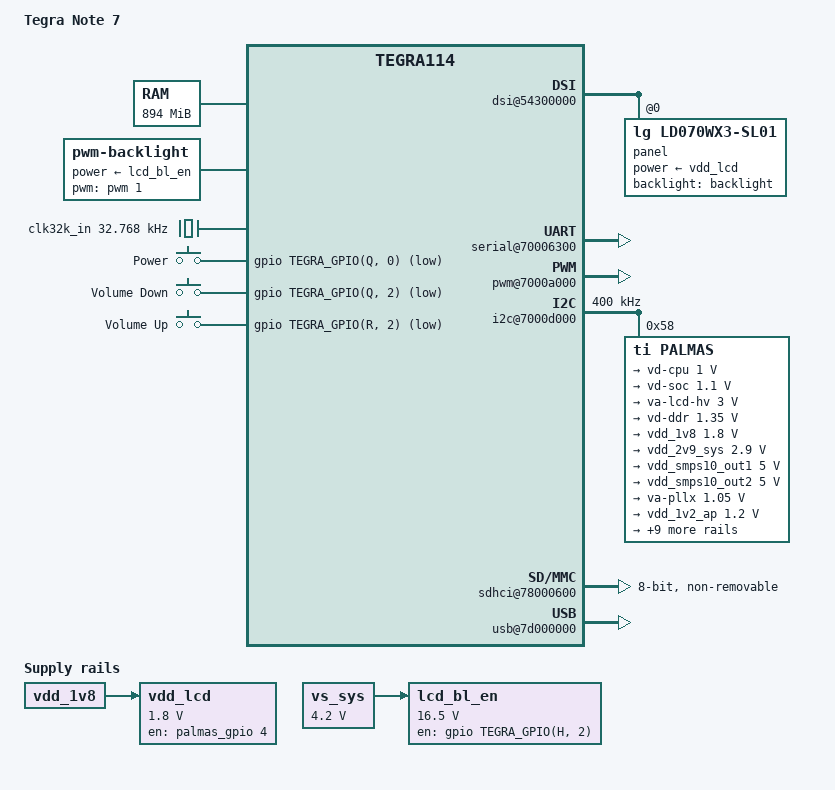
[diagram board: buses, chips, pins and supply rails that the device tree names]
/dts-v1/;

#include <dt-bindings/input/input.h>
#include "tegra114.dtsi"

/ {
	model = "Tegra Note 7";
	compatible = "nvidia,tn7", "nvidia,tegra114";

	chosen {
		/* TN7's bootloader's arguments need to be overridden */
		bootargs = "console=ttyS0,115200n8 console=tty1 gpt fbcon=rotate:2";
		/* TN7's bootloader will place initrd at this address */
		linux,initrd-start = <0x82000000>;
		linux,initrd-end = <0x82800000>;
	};

	aliases {
		serial0 = &uartd;
	};

	firmware {
		trusted-foundations {
			compatible = "tlm,trusted-foundations";
			tlm,version-major = <2>;
			tlm,version-minor = <8>;
		};
	};

	memory {
		/* memory >= 0x37e00000 is reserved for firmware usage */
		reg = <0x80000000 0x37e00000>;
	};

	host1x@50000000 {
		dsi@54300000 {
			status = "okay";

			vdd-supply = <&vdd_1v2_ap>;

			panel@0 {
				compatible = "lg,ld070wx3-sl01";
				reg = <0>;

				power-supply = <&vdd_lcd>;
				backlight = <&backlight>;
			};
		};
	};

	serial@70006300 {
		status = "okay";
	};

	pwm@7000a000 {
		status = "okay";
	};

	i2c@7000d000 {
		status = "okay";
		clock-frequency = <400000>;

		palmas: pmic@58 {
			compatible = "ti,palmas";
			reg = <0x58>;
			interrupts = <GIC_SPI 86 IRQ_TYPE_LEVEL_HIGH>;

			#interrupt-cells = <2>;
			interrupt-controller;

			ti,system-power-controller;

			palmas_gpio: gpio {
				compatible = "ti,palmas-gpio";
				gpio-controller;
				#gpio-cells = <2>;
			};

			pmic {
				compatible = "ti,tps65913-pmic", "ti,palmas-pmic";

				ldoln-in-supply = <&vdd_smps10_out2>;

				regulators {
					smps123 {
						regulator-name = "vd-cpu";
						regulator-min-microvolt = <1000000>;
						regulator-max-microvolt = <1000000>;
						regulator-always-on;
						regulator-boot-on;
					};

					smps45 {
						regulator-name = "vd-soc";
						regulator-min-microvolt = <1100000>;
						regulator-max-microvolt = <1100000>;
						regulator-always-on;
						regulator-boot-on;
					};

					smps6 {
						regulator-name = "va-lcd-hv";
						regulator-min-microvolt = <3000000>;
						regulator-max-microvolt = <3000000>;
						regulator-always-on;
						regulator-boot-on;
					};

					smps7 {
						regulator-name = "vd-ddr";
						regulator-min-microvolt = <1350000>;
						regulator-max-microvolt = <1350000>;
						regulator-always-on;
						regulator-boot-on;
					};

					vdd_1v8: smps8 {
						regulator-name = "vs-pmu-1v8";
						regulator-min-microvolt = <1800000>;
						regulator-max-microvolt = <1800000>;
						regulator-always-on;
						regulator-boot-on;
					};

					vdd_2v9_sys: smps9 {
						regulator-name = "vs-sys-2v9";
						regulator-min-microvolt = <2900000>;
						regulator-max-microvolt = <2900000>;
						regulator-always-on;
						regulator-boot-on;
					};

					vdd_smps10_out1: smps10_out1 {
						regulator-name = "vd-smps10-out1";
						regulator-min-microvolt = <5000000>;
						regulator-max-microvolt = <5000000>;
						regulator-always-on;
						regulator-boot-on;
					};

					vdd_smps10_out2: smps10_out2 {
						regulator-name = "vd-smps10-out2";
						regulator-min-microvolt = <5000000>;
						regulator-max-microvolt = <5000000>;
						regulator-always-on;
						regulator-boot-on;
					};

					ldo1 {
						regulator-name = "va-pllx";
						regulator-min-microvolt = <1050000>;
						regulator-max-microvolt = <1050000>;
						regulator-always-on;
						regulator-boot-on;
					};

					vdd_1v2_ap: ldo2 {
						regulator-name = "va-ap-1v2";
						regulator-min-microvolt = <1200000>;
						regulator-max-microvolt = <1200000>;
						regulator-always-on;
						regulator-boot-on;
					};

					ldo3 {
						regulator-name = "vd-fuse";
						regulator-min-microvolt = <1800000>;
						regulator-max-microvolt = <1800000>;
						regulator-always-on;
						regulator-boot-on;
					};

					ldo4 {
						regulator-name = "vd-ts-hv";
						regulator-min-microvolt = <3200000>;
						regulator-max-microvolt = <3200000>;
						regulator-always-on;
						regulator-boot-on;
					};

					ldo5 {
						regulator-name = "va-cam2-hv";
						regulator-min-microvolt = <2700000>;
						regulator-max-microvolt = <2700000>;
					};

					ldo6 {
						regulator-name = "va-sns-hv";
						regulator-min-microvolt = <2850000>;
						regulator-max-microvolt = <2850000>;
					};

					ldo7 {
						regulator-name = "va-cam1-hv";
						regulator-min-microvolt = <2700000>;
						regulator-max-microvolt = <2700000>;
					};

					ldo8 {
						regulator-name = "va-ap-rtc";
						regulator-min-microvolt = <1100000>;
						regulator-max-microvolt = <1100000>;
						ti,enable-ldo8-tracking;
						regulator-always-on;
						regulator-boot-on;
					};

					ldo9 {
						regulator-name = "vi-sdcard";
						regulator-min-microvolt = <2900000>;
						regulator-max-microvolt = <2900000>;
					};

					ldousb {
						regulator-name = "avdd-usb";
						regulator-min-microvolt = <3300000>;
						regulator-max-microvolt = <3300000>;
						regulator-always-on;
						regulator-boot-on;
					};

					ldoln {
						regulator-name = "va-hdmi";
						regulator-min-microvolt = <3300000>;
						regulator-max-microvolt = <3300000>;
					};
				};
			};

			rtc {
				compatible = "ti,palmas-rtc";
				interrupt-parent = <&palmas>;
				interrupts = <8 0>;
			};

		};
	};

	pmc@7000e400 {
		nvidia,invert-interrupt;
	};

	/* eMMC */
	sdhci@78000600 {
		status = "okay";
		bus-width = <8>;
		non-removable;
	};

	usb@7d000000 {
		status = "okay";
	};

	usb-phy@7d000000 {
		status = "okay";
		nvidia,xcvr-setup = <7>;
		nvidia,xcvr-lsfslew = <2>;
		nvidia,xcvr-lsrslew = <2>;
		interrupts = <GIC_SPI 20 IRQ_TYPE_LEVEL_HIGH>;
		/* Should be changed to "otg" once we have vbus_supply */
		/* As of now, USB devices need to be powered externally */
		dr_mode = "host";
	};

	backlight: backlight {
		compatible = "pwm-backlight";
		pwms = <&pwm 1 40000>;

		brightness-levels = <0 4 8 16 32 64 128 255>;
		default-brightness-level = <6>;

		power-supply = <&lcd_bl_en>;
	};

	clocks {
		compatible = "simple-bus";
		#address-cells = <1>;
		#size-cells = <0>;

		clk32k_in: clock@0 {
			compatible = "fixed-clock";
			reg = <0>;
			#clock-cells = <0>;
			clock-frequency = <32768>;
		};
	};

	gpio-keys {
		compatible = "gpio-keys";

		power {
			label = "Power";
			gpios = <&gpio TEGRA_GPIO(Q, 0) GPIO_ACTIVE_LOW>;
			linux,code = <KEY_POWER>;
			wakeup-source;
		};

		volume_down {
			label = "Volume Down";
			gpios = <&gpio TEGRA_GPIO(Q, 2) GPIO_ACTIVE_LOW>;
			linux,code = <KEY_VOLUMEDOWN>;
		};

		volume_up {
			label = "Volume Up";
			gpios = <&gpio TEGRA_GPIO(R, 2) GPIO_ACTIVE_LOW>;
			linux,code = <KEY_VOLUMEUP>;
		};
	};

	regulators {
		compatible = "simple-bus";
		#address-cells = <1>;
		#size-cells = <0>;

		/* FIXME: output of BQ24192 */
		vs_sys: regulator@0 {
			compatible = "regulator-fixed";
			reg = <0>;
			regulator-name = "VS_SYS";
			regulator-min-microvolt = <4200000>;
			regulator-max-microvolt = <4200000>;
			regulator-always-on;
			regulator-boot-on;
		};

		lcd_bl_en: regulator@1 {
			compatible = "regulator-fixed";
			reg = <1>;
			regulator-name = "VDD_LCD_BL";
			regulator-min-microvolt = <16500000>;
			regulator-max-microvolt = <16500000>;
			gpio = <&gpio TEGRA_GPIO(H, 2) GPIO_ACTIVE_HIGH>;
			enable-active-high;
			vin-supply = <&vs_sys>;
			regulator-boot-on;
		};

		vdd_lcd: regulator@2 {
			compatible = "regulator-fixed";
			reg = <2>;
			regulator-name = "VD_LCD_1V8";
			regulator-min-microvolt = <1800000>;
			regulator-max-microvolt = <1800000>;
			gpio = <&palmas_gpio 4 GPIO_ACTIVE_HIGH>;
			enable-active-high;
			vin-supply = <&vdd_1v8>;
			regulator-boot-on;
		};
	};
};
